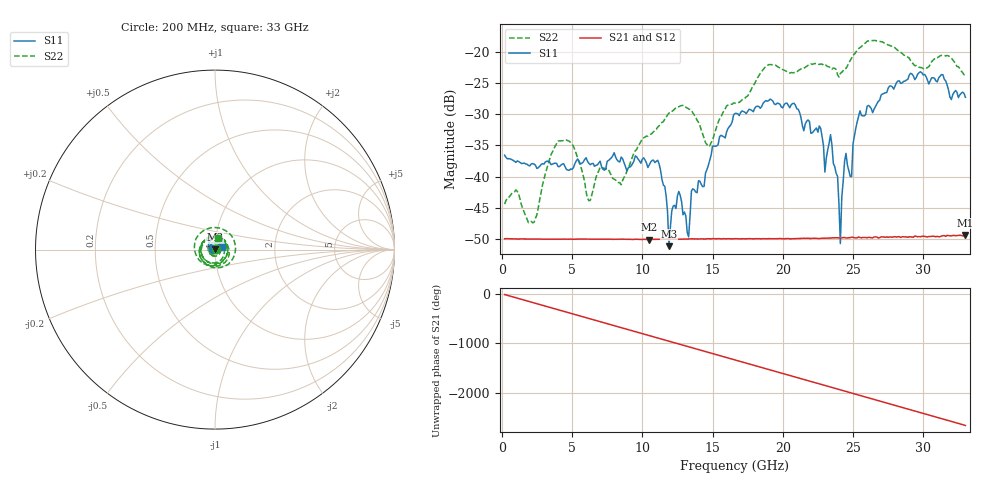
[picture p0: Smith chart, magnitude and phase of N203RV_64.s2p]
# GHZ S RI R 50
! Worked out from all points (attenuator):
!   329 points, 200 MHz to 33 GHz, reference 50 ohm
!   highest |S21| = -49.38 dB at 33 GHz (marker M1); lowest = -50.1 dB at 10.5 GHz (marker M2)
!   lowest |S11| = -51.2 dB at 11.9 GHz (marker M3), VSWR 1.01, Z = 49.9 + j0.252 ohm
!   |S11| at or under -10 dB: start of sweep to end of sweep
!   |S22| runs from -47.4 to -18.2 dB; largest |S21 - S12| = 7.2e-05
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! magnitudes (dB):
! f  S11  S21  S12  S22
! 200 MHz  -36.6  -50.0  -50.0  -44.4
! 2.3 GHz  -38.0  -50.0  -50.0  -47.3
! 4 GHz  -38.4  -50.0  -50.0  -34.3
! 5.7 GHz  -37.9  -50.0  -50.0  -39.0
! 8.5 GHz  -36.9  -50.0  -50.0  -41.3
! 10.5 GHz  -38.1  -50.1  -50.1  -33.3
! 11.2 GHz  -38.0  -50.1  -50.0  -31.9
! 11.9 GHz  -51.2  -50.0  -50.0  -29.8
! 12.6 GHz  -42.4  -50.1  -50.0  -28.8
! 13.3 GHz  -49.7  -50.0  -50.0  -29.1
! 13.5 GHz  -42.3  -50.0  -50.0  -29.3
! 14.7 GHz  -38.2  -50.0  -50.0  -35.2
! 16.6 GHz  -29.9  -50.0  -50.0  -28.2
! 22.1 GHz  -33.0  -49.9  -49.9  -22.0
! 23 GHz  -39.3  -49.9  -49.8  -22.0
! 23.4 GHz  -33.3  -49.9  -49.8  -22.6
! 23.9 GHz  -39.9  -49.8  -49.8  -23.6
! 24.1 GHz  -50.8  -49.9  -49.8  -23.5
! 24.5 GHz  -36.3  -49.9  -49.8  -22.7
! 24.9 GHz  -40.0  -49.7  -49.8  -21.0
! 27.6 GHz  -25.5  -49.7  -49.7  -19.0
! 33 GHz  -27.3  -49.4  -49.4  -23.8
